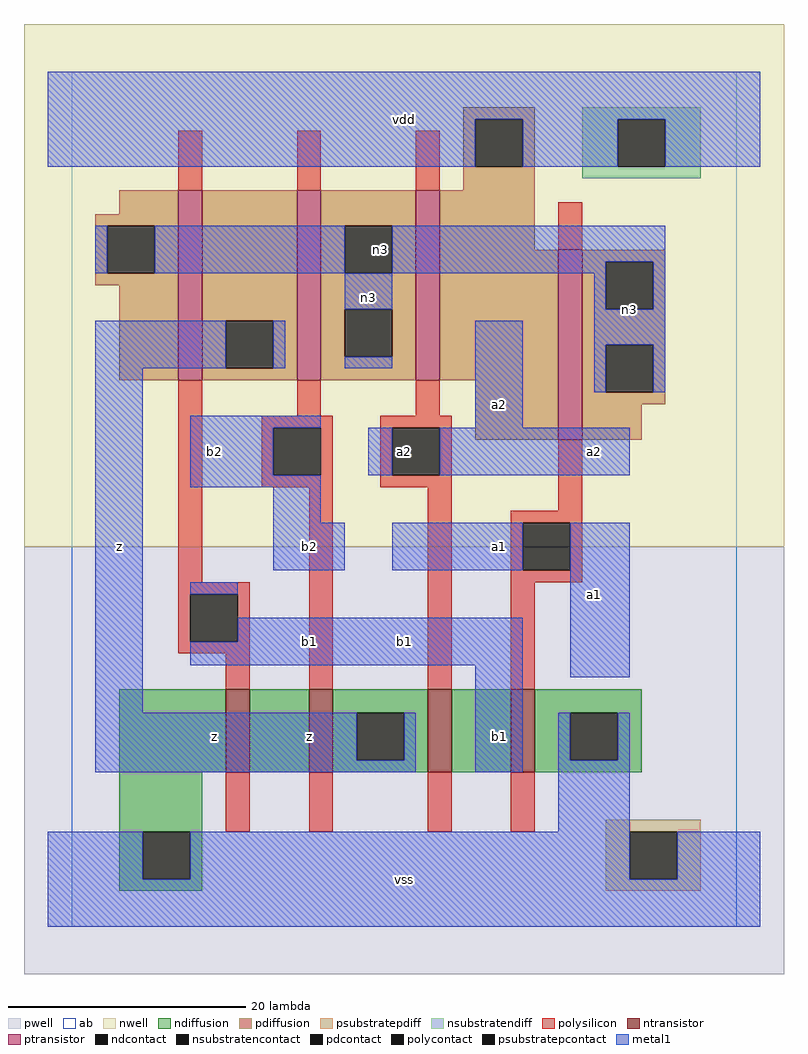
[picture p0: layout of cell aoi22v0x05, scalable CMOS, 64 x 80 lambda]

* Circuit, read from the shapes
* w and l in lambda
.subckt aoi22v0x05 a1 a2 b1 b2 n3 vdd vss z
M1 n1 b1 vss vss nfet w=7 l=2
M2 z b2 n1 vss nfet w=7 l=2
M3 n2 a2 z vss nfet w=7 l=2
M4 vss a1 n2 vss nfet w=7 l=2
M5 z b1 n3 vdd pfet w=16 l=2
M6 n3 b2 z vdd pfet w=16 l=2
M7 vdd a2 n3 vdd pfet w=16 l=2
M8 n3 a1 vdd vdd pfet w=16 l=2
.ends

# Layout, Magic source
magic
tech scmos
<< ab >>
rect 0 0 56 72
<< pwell >>
rect -4 -4 60 32
<< nwell >>
rect -4 32 60 76
<< polysilicon >>
rect 9 62 11 67
rect 19 62 21 67
rect 29 62 31 67
rect 41 57 43 61
rect 9 29 11 46
rect 19 43 21 46
rect 29 43 31 46
rect 16 42 22 43
rect 16 38 17 42
rect 21 38 22 42
rect 16 37 22 38
rect 26 42 32 43
rect 26 38 27 42
rect 31 38 32 42
rect 26 37 32 38
rect 9 28 15 29
rect 9 24 10 28
rect 14 24 15 28
rect 9 23 15 24
rect 13 20 15 23
rect 20 20 22 37
rect 30 20 32 37
rect 41 35 43 41
rect 37 34 43 35
rect 37 30 38 34
rect 42 30 43 34
rect 37 29 43 30
rect 37 20 39 29
rect 13 8 15 13
rect 20 8 22 13
rect 30 8 32 13
rect 37 8 39 13
<< ndiffusion >>
rect 4 13 13 20
rect 15 13 20 20
rect 22 18 30 20
rect 22 14 24 18
rect 28 14 30 18
rect 22 13 30 14
rect 32 13 37 20
rect 39 18 48 20
rect 39 14 42 18
rect 46 14 48 18
rect 39 13 48 14
rect 4 8 11 13
rect 4 4 6 8
rect 10 4 11 8
rect 4 3 11 4
<< pdiffusion >>
rect 33 68 39 69
rect 33 64 34 68
rect 38 64 39 68
rect 33 62 39 64
rect 4 60 9 62
rect 2 59 9 60
rect 2 55 3 59
rect 7 55 9 59
rect 2 54 9 55
rect 4 46 9 54
rect 11 51 19 62
rect 11 47 13 51
rect 17 47 19 51
rect 11 46 19 47
rect 21 59 29 62
rect 21 55 23 59
rect 27 55 29 59
rect 21 52 29 55
rect 21 48 23 52
rect 27 48 29 52
rect 21 46 29 48
rect 31 57 39 62
rect 31 46 41 57
rect 34 41 41 46
rect 43 56 50 57
rect 43 52 45 56
rect 49 52 50 56
rect 43 49 50 52
rect 43 45 45 49
rect 49 45 50 49
rect 43 44 50 45
rect 43 41 48 44
<< metal1 >>
rect -2 68 58 72
rect -2 64 34 68
rect 38 64 46 68
rect 50 64 58 68
rect 2 55 3 59
rect 7 55 23 59
rect 27 56 50 59
rect 27 55 45 56
rect 23 52 27 55
rect 2 47 13 51
rect 17 47 18 51
rect 44 52 45 55
rect 49 52 50 56
rect 23 47 27 48
rect 2 18 6 47
rect 10 42 21 43
rect 34 42 38 51
rect 44 49 50 52
rect 44 45 45 49
rect 49 45 50 49
rect 10 38 17 42
rect 25 38 27 42
rect 31 38 47 42
rect 10 37 21 38
rect 17 34 21 37
rect 17 30 23 34
rect 27 30 38 34
rect 10 28 14 29
rect 14 24 38 26
rect 10 22 38 24
rect 2 14 24 18
rect 28 14 29 18
rect 2 13 29 14
rect 34 13 38 22
rect 42 21 47 34
rect 41 14 42 18
rect 46 14 47 18
rect 41 8 47 14
rect -2 4 6 8
rect 10 4 47 8
rect 51 4 58 8
rect -2 0 58 4
<< ntransistor >>
rect 13 13 15 20
rect 20 13 22 20
rect 30 13 32 20
rect 37 13 39 20
<< ptransistor >>
rect 9 46 11 62
rect 19 46 21 62
rect 29 46 31 62
rect 41 41 43 57
<< polycontact >>
rect 17 38 21 42
rect 27 38 31 42
rect 10 24 14 28
rect 38 30 42 34
<< ndcontact >>
rect 24 14 28 18
rect 42 14 46 18
rect 6 4 10 8
<< pdcontact >>
rect 34 64 38 68
rect 3 55 7 59
rect 13 47 17 51
rect 23 55 27 59
rect 23 48 27 52
rect 45 52 49 56
rect 45 45 49 49
<< psubstratepcontact >>
rect 47 4 51 8
<< nsubstratencontact >>
rect 46 64 50 68
<< psubstratepdiff >>
rect 45 8 53 9
rect 45 4 47 8
rect 51 4 53 8
rect 45 3 53 4
<< nsubstratendiff >>
rect 43 68 53 69
rect 43 64 46 68
rect 50 64 53 68
rect 43 63 53 64
<< labels >>
rlabel metal1 4 32 4 32 6 z
rlabel metal1 20 16 20 16 6 z
rlabel metal1 12 16 12 16 6 z
rlabel metal1 20 24 20 24 6 b1
rlabel metal1 20 32 20 32 6 b2
rlabel metal1 12 40 12 40 6 b2
rlabel metal1 25 53 25 53 6 n3
rlabel metal1 28 4 28 4 6 vss
rlabel metal1 36 16 36 16 6 b1
rlabel metal1 28 24 28 24 6 b1
rlabel metal1 36 32 36 32 6 a1
rlabel polycontact 28 40 28 40 6 a2
rlabel metal1 36 44 36 44 6 a2
rlabel metal1 28 68 28 68 6 vdd
rlabel metal1 44 28 44 28 6 a1
rlabel metal1 44 40 44 40 6 a2
rlabel metal1 47 52 47 52 6 n3
rlabel pdcontact 26 57 26 57 6 n3
<< end >>
